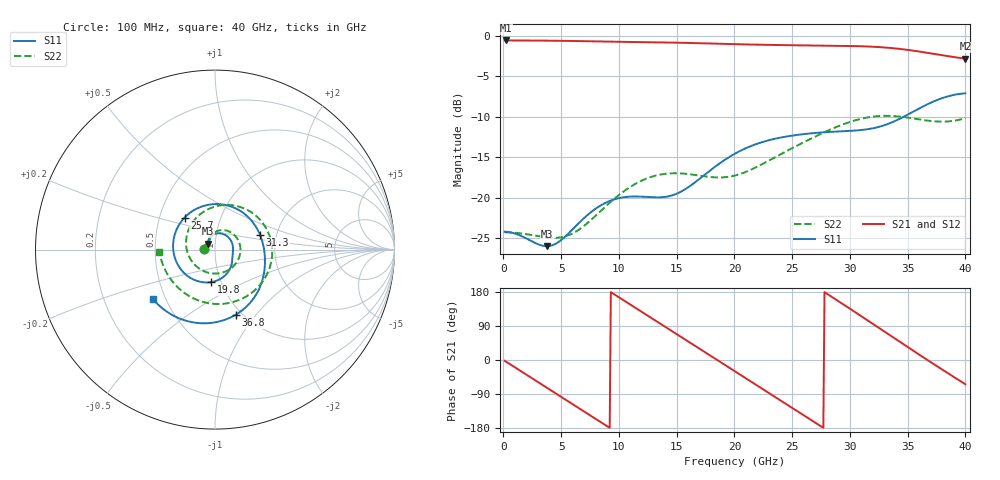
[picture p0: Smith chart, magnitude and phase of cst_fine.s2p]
! B_s8_L1L3_bd_d200: L1→L3, back-drilled to 0.2 mm below L3, drill Ø0.2
! stackup: 8-layer 1.6 mm FR-4 (generic)
! ports: 1, 2
! CST Studio Suite 2025.5 Release from 2025-05-30, time domain (FIT, hexahedral, PBA), 386496 mesh cells, 72 s
! mesh: {'lpw': 30.0, 'lpb': 30.0, 'minstep': 0.0, 'ratio': 20}; ports: port 1 (face); port 2 (face)
! interpolated from CST's 1001 samples to the case grid
# Hz S RI R 50
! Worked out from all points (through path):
!   400 points, 100 MHz to 40 GHz, reference 50 ohm
!   highest |S21| = -0.55 dB at 200 MHz (marker M1); lowest = -2.8 dB at 40 GHz (marker M2)
!   group delay of S21, straight-line fit = 54.4 ps
!   lowest |S11| = -26.0 dB at 3.8 GHz (marker M3), VSWR 1.11, Z = 46.2 + j2.99 ohm
!   |S11| at or under -10 dB: start of sweep to 34.64 GHz
!   |S22| runs from -24.9 to -9.9 dB; largest |S21 - S12| = 0.0039
!   S11 on the Smith chart (normalised r, x): 100 MHz: 0.88, +0.00; 19.8 GHz: 0.89, -0.34; 25.7 GHz: 0.67, +0.25; 31.3 GHz: 1.64, +0.29; 36.8 GHz: 0.93, -0.79; 40 GHz: 0.43, -0.29
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1e8  -0.0617 0.00162  0.9376 -0.0319  0.9381 -0.0319  -0.0612 0.00149
2e8  -0.0616 0.00324  0.936 -0.0638  0.9365 -0.0638  -0.0611 0.00298
1.9e9  -0.0506 0.025  0.7486 -0.5646  0.7485 -0.565  -0.0539 0.0258
3.8e9  -0.0384 0.0323  0.257 -0.8998  0.2567 -0.8995  -0.0397 0.0407
6.8e9  -0.0299 0.0665  -0.6274 -0.6855  -0.627 -0.6857  -0.029 0.0588
8.4e9  0.00634 0.0892  -0.8869 -0.2621  -0.8871 -0.2626  -0.0187 0.0804
9.9e9  0.0548 0.0826  -0.8986 0.2011  -0.8991 0.2013  0.00926 0.1023
1.18e10  0.095 0.0364  -0.5959 0.6964  -0.5955 0.6968  0.0715 0.1037
1.34e10  0.1003 -0.00596  -0.1504 0.9007  -0.15 0.9003  0.1236 0.062
1.51e10  0.0977 -0.043  0.3638 0.8327  0.3633 0.8323  0.1405 -0.0188
1.7e10  0.0876 -0.0977  0.7859 0.4431  0.7856 0.4437  0.0864 -0.1064
1.98e10  -0.0233 -0.1816  0.8076 -0.3761  0.8082 -0.3767  -0.0747 -0.1137
2.01e10  -0.0434 -0.1832  0.7643 -0.4555  0.7647 -0.4561  -0.0905 -0.1036
2.29e10  -0.2161 -0.0661  0.0751 -0.8777  0.0745 -0.8771  -0.161 0.0497
2.57e10  -0.1696 0.1781  -0.6671 -0.5665  -0.6661 -0.5669  -0.0792 0.1998
2.67e10  -0.0895 0.2338  -0.817 -0.3095  -0.8168 -0.3106  -0.0221 0.2323
2.89e10  0.1152 0.2295  -0.8031 0.3355  -0.8044 0.336  0.1372 0.2386
3.13e10  0.2503 0.0836  -0.2848 0.8141  -0.2832 0.8147  0.296 0.0966
3.34e10  0.2785 -0.073  0.334 0.7757  0.3338 0.7737  0.2936 -0.1293
3.52e10  0.2414 -0.2282  0.706 0.4111  0.7037 0.4119  0.1377 -0.2794
3.68e10  0.1152 -0.3632  0.7847 -0.0245  0.7856 -0.0219  -0.062 -0.2929
4e10  -0.3444 -0.2776  0.3167 -0.6512  0.3154 -0.6548  -0.3104 -0.0135
